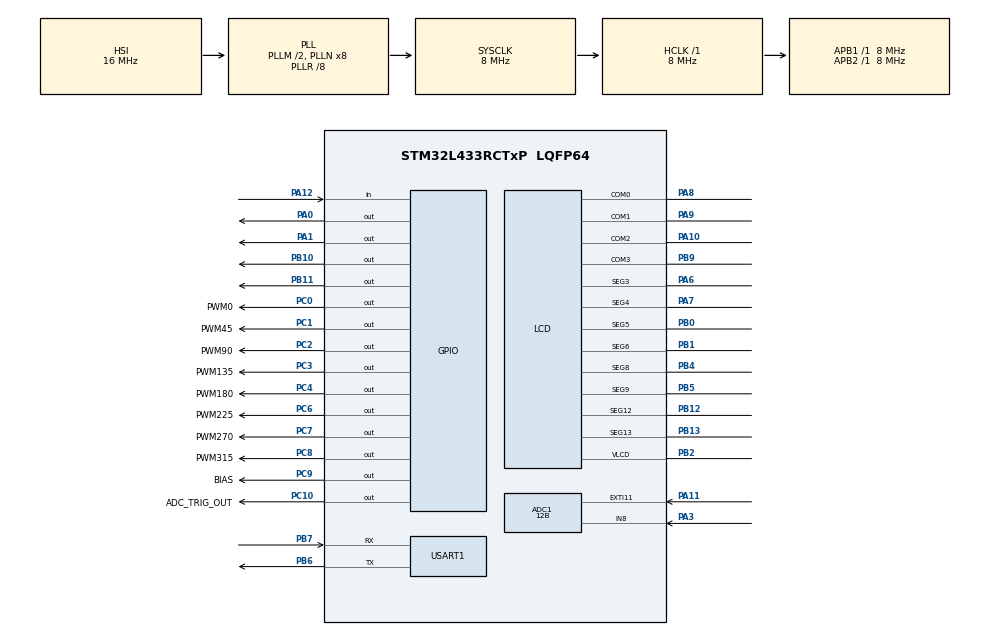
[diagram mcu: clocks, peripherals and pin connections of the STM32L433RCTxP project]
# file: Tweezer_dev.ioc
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ADC1.Channel-13\#ChannelRegularConversion=ADC_CHANNEL_8
ADC1.ContinuousConvMode=DISABLE
ADC1.DMAContinuousRequests=ENABLE
ADC1.NbrOfConversion=1
ADC1.NbrOfConversionFlag=1
ADC1.OffsetNumber-13\#ChannelRegularConversion=ADC_OFFSET_NONE
ADC1.Rank-13\#ChannelRegularConversion=1
ADC1.Resolution=ADC_RESOLUTION_12B
ADC1.SamplingTime-13\#ChannelRegularConversion=ADC_SAMPLETIME_2CYCLES_5
ADC1.master=1
Dma.ADC1.1.Direction=DMA_PERIPH_TO_MEMORY
Dma.ADC1.1.Instance=DMA1_Channel1
Dma.ADC1.1.MemDataAlignment=DMA_MDATAALIGN_HALFWORD
Dma.ADC1.1.MemInc=DMA_MINC_ENABLE
Dma.ADC1.1.Mode=DMA_CIRCULAR
Dma.ADC1.1.PeriphDataAlignment=DMA_PDATAALIGN_HALFWORD
Dma.ADC1.1.PeriphInc=DMA_PINC_DISABLE
Dma.ADC1.1.Priority=DMA_PRIORITY_LOW
Dma.Request0=TIM6_UP
Dma.Request1=ADC1
Dma.TIM6_UP.0.Direction=DMA_MEMORY_TO_PERIPH
Dma.TIM6_UP.0.Instance=DMA2_Channel4
Dma.TIM6_UP.0.MemDataAlignment=DMA_MDATAALIGN_HALFWORD
Dma.TIM6_UP.0.MemInc=DMA_MINC_ENABLE
Dma.TIM6_UP.0.Mode=DMA_CIRCULAR
Dma.TIM6_UP.0.PeriphDataAlignment=DMA_PDATAALIGN_HALFWORD
Dma.TIM6_UP.0.PeriphInc=DMA_PINC_DISABLE
Dma.TIM6_UP.0.Priority=DMA_PRIORITY_VERY_HIGH
LCD.Bias=LCD_BIAS_1_3
LCD.Contrast=LCD_CONTRASTLEVEL_3
LCD.DeadTime=LCD_DEADTIME_3
LCD.Divider=LCD_DIVIDER_31
LCD.HighDrive=LCD_HIGHDRIVE_ENABLE
Mcu.Family=STM32L4
Mcu.Name=STM32L433RCTxP
Mcu.Package=LQFP64
NVIC.DMA1_Channel1_IRQn=true\:0\:0\:false\:false\:true\:false\:true
NVIC.DMA2_Channel4_IRQn=true\:0\:0\:false\:false\:true\:false\:true
NVIC.EXTI15_10_IRQn=true\:0\:0\:false\:false\:true\:true\:true
NVIC.PriorityGroup=NVIC_PRIORITYGROUP_4
PA0.PinState=GPIO_PIN_SET
PA0.Signal=GPIO_Output
PA1.PinState=GPIO_PIN_SET
PA1.Signal=GPIO_Output
PA10.Mode=1/4 Duty Cycle
PA10.Signal=LCD_COM2
PA11.Signal=GPXTI11
PA12.Signal=GPIO_Input
PA13\ (JTMS-SWDIO).GPIO_Label=TMS
PA13\ (JTMS-SWDIO).Mode=Trace_Asynchronous_SW
PA13\ (JTMS-SWDIO).Signal=SYS_JTMS-SWDIO
PA14\ (JTCK-SWCLK).GPIO_Label=TCK
PA14\ (JTCK-SWCLK).Mode=Trace_Asynchronous_SW
PA14\ (JTCK-SWCLK).Signal=SYS_JTCK-SWCLK
PA3.Signal=ADCx_IN8
PA6.Mode=SEG3
PA6.Signal=LCD_SEG3
PA7.Mode=SEG4
PA7.Signal=LCD_SEG4
PA8.Mode=1/4 Duty Cycle
PA8.Signal=LCD_COM0
PA9.Mode=1/4 Duty Cycle
PA9.Signal=LCD_COM1
PB0.Mode=SEG5
PB0.Signal=LCD_SEG5
PB1.Mode=SEG6
PB1.Signal=LCD_SEG6
PB10.PinState=GPIO_PIN_SET
PB10.Signal=GPIO_Output
PB11.PinState=GPIO_PIN_SET
PB11.Signal=GPIO_Output
PB12.Mode=SEG12
PB12.Signal=LCD_SEG12
PB13.Mode=SEG13
PB13.Signal=LCD_SEG13
PB2.Mode=1/4 Duty Cycle
PB2.Signal=LCD_VLCD
PB3\ (JTDO-TRACESWO).GPIO_Label=SWO
PB3\ (JTDO-TRACESWO).Mode=Trace_Asynchronous_SW
PB3\ (JTDO-TRACESWO).Signal=SYS_JTDO-SWO
PB4\ (NJTRST).Mode=SEG8
PB4\ (NJTRST).Signal=LCD_SEG8
PB5.Mode=SEG9
PB5.Signal=LCD_SEG9
PB6.Mode=Asynchronous
PB6.Signal=USART1_TX
PB7.Mode=Asynchronous
PB7.Signal=USART1_RX
PB9.Mode=1/4 Duty Cycle
PB9.Signal=LCD_COM3
PC0.GPIO_Label=PWM0
PC0.Signal=GPIO_Output
PC1.GPIO_Label=PWM45
PC1.Signal=GPIO_Output
PC10.GPIO_Label=ADC_TRIG_OUT
PC10.Signal=GPIO_Output
PC2.GPIO_Label=PWM90
PC2.Signal=GPIO_Output
PC3.GPIO_Label=PWM135
PC3.Signal=GPIO_Output
PC4.GPIO_Label=PWM180
PC4.Signal=GPIO_Output
PC6.GPIO_Label=PWM225
PC6.Signal=GPIO_Output
PC7.GPIO_Label=PWM270
PC7.Signal=GPIO_Output
PC8.GPIO_Label=PWM315
PC8.Signal=GPIO_Output
PC9.GPIO_Label=BIAS
PC9.GPIO_ModeDefaultOutputPP=GPIO_MODE_OUTPUT_OD
PC9.GPIO_PuPd=GPIO_NOPULL
PC9.GPIO_Speed=GPIO_SPEED_FREQ_VERY_HIGH
PC9.Signal=GPIO_Output
ProjectManager.HeapSize=0x200
ProjectManager.StackSize=0x400
ProjectManager.TargetToolchain=STM32CubeIDE
RCC.ADCCLockSelection=RCC_ADCCLKSOURCE_SYSCLK
RCC.ADCFreq_Value=8000000
RCC.AHBFreq_Value=8000000
RCC.APB1Freq_Value=8000000
RCC.APB1TimFreq_Value=8000000
RCC.APB2Freq_Value=8000000
RCC.APB2TimFreq_Value=8000000
RCC.CortexFreq_Value=8000000
RCC.HCLKFreq_Value=8000000
RCC.HSE_VALUE=8000000
RCC.HSI48_VALUE=48000000
RCC.HSI_VALUE=16000000
RCC.LSE_VALUE=32768
RCC.MSIClockRange=RCC_MSIRANGE_10
RCC.MSI_VALUE=32000000
RCC.PLLM=2
RCC.PLLR=RCC_PLLR_DIV8
RCC.PLLSourceVirtual=RCC_PLLSOURCE_HSI
RCC.PREFETCH_ENABLE=1
RCC.SYSCLKFreq_VALUE=8000000
RCC.SYSCLKSource=RCC_SYSCLKSOURCE_PLLCLK
RCC.USBFreq_Value=32000000
RCC.VCOOutputFreq_Value=64000000
SH.ADCx_IN8.0=ADC1_IN8,IN8-Single-Ended
TIM2.Period=1000000
TIM2.Prescaler=8000-1
TIM6.Period=246-1
TIM6.Prescaler=1-1
TIM6.TIM_MasterOutputTrigger=TIM_TRGO_UPDATE
USART1.VirtualMode-Asynchronous=VM_ASYNC
VP_LCD_LCD_mux.Mode=Multiplex
VP_TIM2_VS_ClockSourceINT.Mode=Internal
VP_TIM6_VS_ClockSourceINT.Mode=Enable_Timer
board=NUCLEO-L433RC-P

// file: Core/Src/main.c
/* USER CODE BEGIN Header */
/**
  ******************************************************************************
  * @file           : main.c
  * @brief          : Main program body
  ******************************************************************************
  * @attention
  *
  * Copyright (c) 2022 STMicroelectronics.
  * All rights reserved.
  *
  * This software is licensed under terms that can be found in the LICENSE file
  * in the root directory of this software component.
  * If no LICENSE file comes with this software, it is provided AS-IS.
  *
  ******************************************************************************
  */
/* USER CODE END Header */
//#include <Connors_LUT.h>
#include <THE_LUT.h>
#include "main.h"

/* USER CODE BEGIN Includes */
#include "stdio.h"
#include "math.h"
#include <stdint.h>
/* USER CODE END Includes */

/* USER CODE BEGIN PD */
#define TX_BUFF_SIZE 512
#define SAMPLE_BUFF_SIZE 128 //2 periods
#define BIAS_BUFF_SIZE 8
#define display_delay 50
/* USER CODE END PD */

ADC_HandleTypeDef hadc1;
DMA_HandleTypeDef hdma_adc1;

LCD_HandleTypeDef hlcd;

TIM_HandleTypeDef htim2;
TIM_HandleTypeDef htim6;
DMA_HandleTypeDef hdma_tim6_up;

UART_HandleTypeDef huart1;

/* USER CODE BEGIN PV */
// random data for test
int D = 0;
// base display data array
uint16_t Display[4] = {0,0,0,0};
// array for individual values
int data[4];
// lookup table for data
uint16_t X0[4] = {1,3,2,3};
uint16_t X1[4] = {0,2,2,0};
uint16_t X2[4] = {1,1,3,2};
uint16_t X3[4] = {1,2,3,2};
uint16_t X4[4] = {0,2,3,1};
uint16_t X5[4] = {1,2,1,3};
uint16_t X6[4] = {1,3,1,3};
uint16_t X7[4] = {0,2,2,2};
uint16_t X8[4] = {1,3,3,3};
uint16_t X9[4] = {1,2,3,3};
//DISPLAYYYYYYYY ^^^^^^^^^^
static uint16_t ODR_Buff[TX_BUFF_SIZE];
static uint16_t samples[SAMPLE_BUFF_SIZE] = {0};
static uint16_t processBuff[SAMPLE_BUFF_SIZE/2] = {0};

static double cosAngLut[32];
static double sinAngLut[32];

static double even[32];
static double odd[32];
static double demol[32];

static double k = 1; //Frequency bin of interest 1hz

static double real = 0; //Real part of sensor signal
static double imag = 0; //Imaginary part of sensor signal

static double magnitude = 0; //Amplitude of sensor signal
static double phaseRad = 0;  //Phase in radians
static double phaseDeg = 0;  //Phase in degrees
static double phaseDegDisp = 0;

static int quadrant = 1;

uint8_t dataRdyFlag = 0;
float logging[1024] = {0};
int timing[1024] = {0};
int logcount = 0;
float offset = 324;
float zero = 324;
float tempf;
int tempi;
int tempi2;
int lastTime = 0;
//uint16_t data[2] = {0xFFFF, 0x0000};
/* USER CODE END PV */

void SystemClock_Config(void);
static void MX_GPIO_Init(void);
static void MX_LCD_Init(void);
static void MX_ADC1_Init(void);
static void MX_USART1_UART_Init(void);
static void MX_DMA_Init(void);
static void MX_TIM6_Init(void);
static void MX_TIM2_Init(void);
/* USER CODE BEGIN PFP */
int movingAvg(int *ptrArrNumbers, long *ptrSum, int pos, int len, int nextNum)
{
  //Subtract the oldest number from the prev sum, add the new number
  *ptrSum = *ptrSum - ptrArrNumbers[pos] + nextNum;
  //Assign the nextNum to the position in the array
  ptrArrNumbers[pos] = nextNum;
  //return the average
  return *ptrSum / len;
}
// configures data into an array of 4 individual values
void configure(int* ptr, int D){
      //int dec = D*100;
		int dec = D;
      ptr += 3;
      for(int i = 0; i < 4; i++){
            int x = pow(10,i);
            *ptr = (dec/x)%10;
            ptr--;
      }
}
void DisplayUpdate(uint16_t* displayptr, int* dataptr){
      int LS = 3;
      uint16_t *originaldisplayptr = displayptr;

      for(int j = 2; j < 6; j++){
            displayptr = originaldisplayptr;
            switch (*dataptr){
                  case 0:
                        for(int i = 0; i < sizeof(data)/sizeof(data[0]); i++){
                              *displayptr = Display[i] ^ (X0[i] << LS);
                              displayptr++;
                        }
                        break;
                  case 1:
                        for(int i = 0; i < sizeof(data)/sizeof(data[0]); i++){
                              *displayptr = Display[i] ^ (X1[i] << LS);
                              printf("LS = %i\n", X1[i] << LS);
                              printf("display ptr = %i\n", *displayptr);
                              displayptr++;
                        }
                        break;
                  case 2:
                        for(int i = 0; i < sizeof(data)/sizeof(data[0]); i++){
                              *displayptr = Display[i] ^ (X2[i] << LS);
                              displayptr++;
                        }
                        break;
                  case 3:
                        for(int i = 0; i < sizeof(data)/sizeof(data[0]); i++){
                              *displayptr = Display[i] ^ (X3[i] << LS);
                              displayptr++;
                        }
                        break;
                  case 4:
                        for(int i = 0; i < sizeof(data)/sizeof(data[0]); i++){
                              *displayptr = Display[i] ^ (X4[i] << LS);
                              displayptr++;
                        }
                        break;
                  case 5:
                        for(int i = 0; i < sizeof(data)/sizeof(data[0]); i++){
                              *displayptr = Display[i] ^ (X5[i] << LS);
                              displayptr++;
                        }
                        break;
                  case 6:
                        for(int i = 0; i < sizeof(data)/sizeof(data[0]); i++){
                              *displayptr = Display[i] ^ (X6[i] << LS);
                              displayptr++;
                        }
                        break;
                  case 7:
                        for(int i = 0; i < sizeof(data)/sizeof(data[0]); i++){
                              *displayptr = Display[i] ^ (X7[i] << LS);
                              displayptr++;
                        }
                        break;
                  case 8:
                        for(int i = 0; i < sizeof(data)/sizeof(data[0]); i++){
                              *displayptr = Display[i] ^ (X8[i] << LS);
                              displayptr++;
                        }
                        break;
                  case 9:
                        for(int i = 0; i < sizeof(data)/sizeof(data[0]); i++){
                              *displayptr = Display[i] ^ (X9[i] << LS);
                              displayptr++;
                        }
                        break;
            }
            LS =  LS + j;
            dataptr++;
      }
}
//DISPLAYYYYYY^^^^^^^
int _write(int file, char *ptr, int len)
{
  /* Implement your write code here, this is used by puts and printf for example */
  int i=0;
  for(i=0 ; i<len ; i++)
    ITM_SendChar((*ptr++));
  return len;
}
void generateLuts()
{
    for (int i = 0; i < 32; i++)
    {
        double angle = (2 * M_PI * (double)i * k) / 32;

        cosAngLut[i] = cos(angle);
        sinAngLut[i] = sin(angle);
    }
}
uint32_t calcBuffLoc(uint32_t startPos, uint32_t offSet, uint32_t buffSize)
{
    uint32_t newLoc = startPos + offSet;

    if (newLoc < buffSize)
    {
        return newLoc;
    }
    else
    {
        return newLoc - buffSize; // Loop Around
    }
}
float constrainAngle(float x){
	x= fmod(x,360);
	if (x<0){
		x += 360;
	}
	return x;
}
void generate_ODR_Buff()
{
	const uint8_t singlePhaseBuff[TX_BUFF_SIZE] = {1, 1, 1, 1, 1, 1, 1, 1, 1, 1, 1, 1, 1, 1, 1, 1, 1, 1, 1, 1, 0, 0, 0, 0, 1, 1, 1, 1, 1, 1, 1, 1, 1, 1, 1, 1, 0, 0, 0, 0, 1, 1, 1, 1, 1, 1, 1, 1, 0, 0, 0, 0, 0, 0, 0, 0, 1, 1, 1, 1, 1, 1, 1, 1, 0, 0, 0, 0, 0, 0, 0, 0, 1, 1, 1, 1, 1, 1, 1, 1, 0, 0, 0, 0, 0, 0, 0, 0, 1, 1, 1, 1, 1, 1, 1, 1, 0, 0, 0, 0, 0, 0, 0, 0, 1, 1, 1, 1, 1, 1, 1, 1, 0, 0, 0, 0, 0, 0, 0, 0, 1, 1, 1, 1, 1, 1, 1, 1, 0, 0, 0, 0, 0, 0, 0, 0, 1, 1, 1, 1, 1, 1, 1, 1, 0, 0, 0, 0, 0, 0, 0, 0, 1, 1, 1, 1, 1, 1, 1, 1, 0, 0, 0, 0, 0, 0, 0, 0, 1, 1, 1, 1, 1, 1, 1, 1, 0, 0, 0, 0, 0, 0, 0, 0, 1, 1, 1, 1, 1, 1, 1, 1, 0, 0, 0, 0, 0, 0, 0, 0, 1, 1, 1, 1, 1, 1, 1, 1, 0, 0, 0, 0, 0, 0, 0, 0, 1, 1, 1, 1, 1, 1, 1, 1, 0, 0, 0, 0, 0, 0, 0, 0, 1, 1, 1, 1, 1, 1, 1, 1, 0, 0, 0, 0, 0, 0, 0, 0, 0, 0, 0, 0, 1, 1, 1, 1, 0, 0, 0, 0, 0, 0, 0, 0, 0, 0, 0, 0, 0, 0, 0, 0, 0, 0, 0, 0, 1, 1, 1, 1, 0, 0, 0, 0, 0, 0, 0, 0, 0, 0, 0, 0, 1, 1, 1, 1, 0, 0, 0, 0, 0, 0, 0, 0, 1, 1, 1, 1, 1, 1, 1, 1, 0, 0, 0, 0, 0, 0, 0, 0, 1, 1, 1, 1, 1, 1, 1, 1, 0, 0, 0, 0, 0, 0, 0, 0, 1, 1, 1, 1, 1, 1, 1, 1, 0, 0, 0, 0, 0, 0, 0, 0, 1, 1, 1, 1, 1, 1, 1, 1, 0, 0, 0, 0, 0, 0, 0, 0, 1, 1, 1, 1, 1, 1, 1, 1, 0, 0, 0, 0, 0, 0, 0, 0, 1, 1, 1, 1, 1, 1, 1, 1, 0, 0, 0, 0, 0, 0, 0, 0, 1, 1, 1, 1, 1, 1, 1, 1, 0, 0, 0, 0, 0, 0, 0, 0, 1, 1, 1, 1, 1, 1, 1, 1, 0, 0, 0, 0, 0, 0, 0, 0, 1, 1, 1, 1, 1, 1, 1, 1, 0, 0, 0, 0, 0, 0, 0, 0, 1, 1, 1, 1, 1, 1, 1, 1, 0, 0, 0, 0, 0, 0, 0, 0, 1, 1, 1, 1, 1, 1, 1, 1, 0, 0, 0, 0, 0, 0, 0, 0, 1, 1, 1, 1, 1, 1, 1, 1, 0, 0, 0, 0, 0, 0, 0, 0, 1, 1, 1, 1, 1, 1, 1, 1, 1, 1, 1, 1, 0, 0, 0, 0};
	//const uint8_t biasBuff[BIAS_BUFF_SIZE] = {0, 0, 0, 1, 1, 1, 1, 1};//ORIGINAL
	//const uint8_t biasBuff[BIAS_BUFF_SIZE] = {0, 0, 0, 0, 0, 0, 0, 1};//shorter active period
	//const uint8_t biasBuff[BIAS_BUFF_SIZE] = {0, 0, 0, 0, 0, 0, 0, 0};//NO BIAS TEST
	const uint8_t biasBuff[BIAS_BUFF_SIZE] = {1, 1, 1, 0, 0, 0, 0, 0};// FOR TESTING ON BREADBOARD

	uint32_t tx0Loc, tx1Loc, tx2Loc, tx3Loc, tx4Loc, tx5Loc, tx6Loc, tx7Loc = 0; // 0 ... 512-1: TX buffer locations
	uint32_t biasLoc = 0;                                                        // 0 ... 8-1: Bias buffer location
	uint32_t period = 0;                                                         // Period signal current output pin state
	uint32_t timeBase = 0;                                                       // Timebase signal current output pin state
	uint32_t adcTrig = 0;                                                        // ADC external trigger signal current output pin state
	uint32_t ODRVal = 0;                                                        // Output data register state for all signals combined

	for (uint32_t i = 0; i < TX_BUFF_SIZE; i++)
	{
		tx0Loc = i;
		/* Calculate other TX signals LUT location 45 degrees phase shifted */
		tx1Loc = calcBuffLoc(tx0Loc, TX_BUFF_SIZE / 8 * 1, TX_BUFF_SIZE);
		tx2Loc = calcBuffLoc(tx0Loc, TX_BUFF_SIZE / 8 * 2, TX_BUFF_SIZE);
		tx3Loc = calcBuffLoc(tx0Loc, TX_BUFF_SIZE / 8 * 3, TX_BUFF_SIZE);
		tx4Loc = calcBuffLoc(tx0Loc, TX_BUFF_SIZE / 8 * 4, TX_BUFF_SIZE);
		tx5Loc = calcBuffLoc(tx0Loc, TX_BUFF_SIZE / 8 * 5, TX_BUFF_SIZE);
		tx6Loc = calcBuffLoc(tx0Loc, TX_BUFF_SIZE / 8 * 6, TX_BUFF_SIZE);
		tx7Loc = calcBuffLoc(tx0Loc, TX_BUFF_SIZE / 8 * 7, TX_BUFF_SIZE);

		/* calculate debug signals */
		period = (tx0Loc < TX_BUFF_SIZE / 2) ? 0 : 1;
		timeBase = (tx0Loc % 2) ? 0 : 1; //flips every sample, timebase for debugging

		/* Calculate ADC external trigger signal */
		adcTrig = ((tx0Loc + 7) % 8) ? 0 : 1; //ADC trigger signal every 8T, Offset by 6 to align ADC trigger (rising edge) on second period when the bias is low.
		//adcTrig = ((tx0Loc) % 8) ? 0 : 1;
		/* building the OCTL value */
		ODRVal = 0; //Set all pins low default

		if (singlePhaseBuff[tx0Loc])
			ODRVal |= PWM0_Pin;
		if (singlePhaseBuff[tx1Loc])
			ODRVal |= PWM45_Pin;
		if (singlePhaseBuff[tx2Loc])
			ODRVal |= PWM90_Pin;
		if (singlePhaseBuff[tx3Loc])
			ODRVal |= PWM135_Pin;
		if (singlePhaseBuff[tx4Loc])
			ODRVal |= PWM180_Pin;
		if (singlePhaseBuff[tx5Loc])
			ODRVal |= PWM225_Pin; //STM32l433RCTxP does not have Port C Pin 5
		if (singlePhaseBuff[tx6Loc])
			ODRVal |= PWM270_Pin;
		if (singlePhaseBuff[tx7Loc])
			ODRVal |= PWM315_Pin;
		if (biasBuff[biasLoc])
			ODRVal |= BIAS_Pin; // Bias signal: 8T Period 3T LOW 5T HIGH
		if (adcTrig)
			ODRVal |= ADC_TRIG_OUT_Pin; // ADC external trigger signal: 8T Period
		/*if (timeBase)
			ODRVal |= TIMEBASE_Pin;     // DBG signal: TimeBase smallest period 1T
		if (period)
			ODRVal |= PERIOD_Pin; // DBG signal: Period is the modulated Sine period. 512/2=256, 256T HIGH followed by 256T LOW*/

		/* Store OCTL value in buffer */
		ODR_Buff[i] = ODRVal;

		/* Loop over bias signal template buffer when end is reached*/
		biasLoc++;
		if (biasLoc >= BIAS_BUFF_SIZE)
			biasLoc = 0;
	}
}
void sensor_signalProcessing()
{
    /*Split even and odd samples */
    int eLoc = 0;
    int oLoc = 0;
    for (uint32_t i = 0; i < 64; i++)
    {
        if (i % 2)
        {
            even[eLoc] = (double)processBuff[i];
            eLoc++;
        }
        else
        {
            odd[oLoc] = (double)processBuff[i];
            oLoc++;
        }
    }

    /* demodulate: convert sampled signal to sine*/
    for (uint32_t i = 0; i < 32; i++)
    {
        demol[i] = even[i] - odd[i];
    }

    //Demol: LP filter test 4 sample avg
    /*for (uint32_t i = 0; i < 32; i++)
    {
        demolLp[i] = (demol[i] + demol[calcBuffLoc(i, 1, 32)] + demol[calcBuffLoc(i, 2, 32)] + demol[calcBuffLoc(i, 3, 32)]) / 4;
    }*/

    //Demol: LP filter test 8 sample avg
    // for (int i = 0; i < 32; i++)
    // {
    //     demolLp[i] = (demol[i] + demol[calcBuffLoc(i, 1, 32)] + demol[calcBuffLoc(i, 2, 32)] + demol[calcBuffLoc(i, 3, 32)] + demol[calcBuffLoc(i, 4, 32)] + demol[calcBuffLoc(i, 5, 32)] + demol[calcBuffLoc(i, 6, 32)] + demol[calcBuffLoc(i, 7, 32)]) / 8;
    // }

    /// calculate DFT for single frequency bin @ 1Hz
    /// The sampling frequency in Hz = 64 hz
    ///
    /// Bin frequency = k*SamplerateHz/SampleSize = 1*64/64 = 1Hz
    // double sumrealTemp = 0;
    // double sumimagTemp = 0;
    // for (int i = 0; i < 32; i++)
    // {
    //     double angle = (2 * M_PI * (double)i * k) / 32;

    //     // sumrealTemp += (double)demol[i] * cos(angle);
    //     // sumimagTemp += -(double)demol[i] * sin(angle);

    //     sumrealTemp += (double)demolLp[i] * cos(angle);
    //     sumimagTemp += -(double)demolLp[i] * sin(angle);
    // }

    /* Fast dft using precomputed lookup tables for cos and sine part*/
    double sumrealTemp = 0;
    double sumimagTemp = 0;

    for (uint32_t i = 0; i < 32; i++)
    {
        sumrealTemp += (double)demol[i] * cosAngLut[i];
        sumimagTemp += -(double)demol[i] * sinAngLut[i];
    }

    // dft coefficients at the frequency bin of interest (1hz) in complex form
    real = sumrealTemp; //X-axis
    imag = sumimagTemp; //Y-axis

    // Calculate phase
    if (real >= 0 && imag >= 0)
    {
        //1-Quadrant (top right) [+, +]
        phaseRad = atan2(imag, real);
        quadrant = 1;
    }
    else if (real < 0 && imag >= 0)
    {
        //2-Quadrant (top left) [-, +]
        phaseRad = atan2(imag, real);
        quadrant = 2;
    }
    else if (real < 0 && imag < 0)
    {
        //3-Quadrant (bottom left) [-, -]
        phaseRad = 2 * M_PI + atan2(imag, real);
        quadrant = 3;
    }
    else if (real >= 0 && imag < 0)
    {
        //4-Quadrant (bottom right) [+, -] #Optimization: do not check last quadrant just use else
        phaseRad = 2 * M_PI + atan2(imag, real);
        quadrant = 4;
    }

    phaseDeg = (phaseRad * 180) / M_PI; // 0 to 360 degrees
    phaseDegDisp = round((phaseRad * 180) / M_PI);
    /*if(logcount<1024){
    	logging[logcount] = phaseDeg;
    	timing[logcount] = HAL_GetTick();
    	logcount++;
    }
    else{
    	logcount = 1025;
    }*/
    // Calculate magnitude
    magnitude = sqrt(fabs(real) + fabs(imag));
}
/* USER CODE END PFP */

int main(void)
{

  /* MCU Configuration--------------------------------------------------------*/

  /* Reset of all peripherals, Initializes the Flash interface and the Systick. */
  HAL_Init();

  /* Configure the system clock */
  SystemClock_Config();

  /* USER CODE BEGIN SysInit */
  MX_DMA_Init();
  /* USER CODE END SysInit */

  /* Initialize all configured peripherals */
  MX_GPIO_Init();
  MX_LCD_Init();
  MX_ADC1_Init();
  MX_USART1_UART_Init();
  MX_DMA_Init();
  MX_TIM6_Init();
  MX_TIM2_Init();
  /* USER CODE BEGIN 2 */
  generate_ODR_Buff();
  generateLuts();
  HAL_DMA_Start(&hdma_tim6_up, (uint32_t)&ODR_Buff, (uint32_t)&GPIOC->ODR, TX_BUFF_SIZE);
  __HAL_TIM_ENABLE_DMA(&htim6, TIM_DMA_UPDATE);
  HAL_TIM_Base_Start(&htim6);
  //HAL_TIM_PWM_Start(&htim2, TIM_CHANNEL_1);
  //__HAL_TIM_SET_COMPARE(&htim2, TIM_CHANNEL_1, 0);
  //HAL_TIM_PWM_Start(&htim2, TIM_CHANNEL_2);
  //HAL_TIM_PWM_Start(&htim2, TIM_CHANNEL_3);
  //HAL_TIM_PWM_Start(&htim2, TIM_CHANNEL_4);

  HAL_ADC_Start_DMA(&hadc1, (uint32_t*)samples, SAMPLE_BUFF_SIZE);
  //__HAL_TIM_ENABLE_DMA(&htim2, TIM_DMA_UPDATE);

	/*//find the size of array
	int size = sizeof(data)/sizeof(data[0]);

	//declare new array to store reverse of original array
	int k=0, reverse[size];

	//Loop from back and assign value to new array
	for(int i=size-1; i>=0; ){
		  reverse[k++] = data[i--];
	}*/

	for(int i = 0; i < 4; i++){
		  printf("Display = %d \n", Display[i]);
	}
	int arrNumbers[5] = {0};
	int pos = 0;
	  int newAvg = 0;
	  long sum = 0;
	  int len = sizeof(arrNumbers) / sizeof(int);
  /* USER CODE END 2 */

  /* Infinite loop */
  /* USER CODE BEGIN WHILE */
  while (1)
  {
	  if(HAL_GPIO_ReadPin(GPIOA, GPIO_PIN_12)==0){
		  zero = phaseDeg;
		  /*for(int i=0; i<len; i++){
			  arrNumbers[i] = 0;
		  }*/
	  }
	  if(dataRdyFlag)
	  {
		  sensor_signalProcessing();
		  memset(Display, 0x00, 8);
		 		  	  tempf = constrainAngle(phaseDeg-offset);
		 		  	  tempf *= 100;
		 		  	  tempi = (int)tempf;
		 		  	  tempf = constrainAngle(zero-offset);
		 		  	  tempf *= 100;
		 		  	  tempi2 = (int)tempf;
		 		  	newAvg = movingAvg(arrNumbers, &sum, pos, len, angleLut[tempi]-angleLut[tempi2]);
		 		  	pos++;
		 		  	    if (pos >= len){
		 		  	      pos = 0;
		 		  	    }
		 		  	  configure(data, abs(newAvg));
		 		  	  //configure(data, angleLut[tempi]);

		  dataRdyFlag = 0;
	  }
	  if(HAL_GetTick()-lastTime>display_delay){
		  lastTime = HAL_GetTick();
		  DisplayUpdate(Display, data);
		  		  	  HAL_LCD_Clear(&hlcd);
		  		  	  //HAL_LCD_Write(&hlcd, LCD_RAM_REGISTER0, 0xffff, 0x0040);
		  		  	  HAL_LCD_Write(&hlcd, LCD_RAM_REGISTER0, 0xffff, Display[0]|0x0040);
		  		  	  HAL_LCD_Write(&hlcd, LCD_RAM_REGISTER2, 0xffff, Display[1]);
		  		  	  HAL_LCD_Write(&hlcd, LCD_RAM_REGISTER4, 0xffff, Display[2]);
		  		  	  HAL_LCD_Write(&hlcd, LCD_RAM_REGISTER6, 0xffff, Display[3]);
		  		  	  HAL_LCD_UpdateDisplayRequest(&hlcd);
		  		  	if(newAvg>20){
		  		  			  		  HAL_GPIO_WritePin(GPIOA, GPIO_PIN_0, 0);
		  		  			  		HAL_GPIO_WritePin(GPIOA, GPIO_PIN_1, 1);
		  		  			  		HAL_GPIO_WritePin(GPIOB, GPIO_PIN_10, 1);
		  		  			  		HAL_GPIO_WritePin(GPIOB, GPIO_PIN_11, 1);
		  		  			  	  }
		  		  	if(newAvg<-20){
		  		  			  			  		  HAL_GPIO_WritePin(GPIOA, GPIO_PIN_0, 1);
		  		  			  			  		HAL_GPIO_WritePin(GPIOA, GPIO_PIN_1, 1);
		  		  			  			  		HAL_GPIO_WritePin(GPIOB, GPIO_PIN_10, 0);
		  		  			  			  		HAL_GPIO_WritePin(GPIOB, GPIO_PIN_11, 1);
		  		  			  			  	  }
		  		  	if(newAvg<20 && newAvg>-20){
		  		  			  			  		  HAL_GPIO_WritePin(GPIOA, GPIO_PIN_0, 1);
		  		  			  			  		HAL_GPIO_WritePin(GPIOA, GPIO_PIN_1, 0);
		  		  			  			  		HAL_GPIO_WritePin(GPIOB, GPIO_PIN_10, 1);
		  		  			  			  		HAL_GPIO_WritePin(GPIOB, GPIO_PIN_11, 0);
		  		  			  			  	  }
	  }
    /* USER CODE END WHILE */

  }
}

void SystemClock_Config(void)
{
  RCC_OscInitTypeDef RCC_OscInitStruct = {0};
  RCC_ClkInitTypeDef RCC_ClkInitStruct = {0};

  /** Configure the main internal regulator output voltage
  */
  if (HAL_PWREx_ControlVoltageScaling(PWR_REGULATOR_VOLTAGE_SCALE1) != HAL_OK)
  {
    Error_Handler();
  }
  /** Initializes the RCC Oscillators according to the specified parameters
  * in the RCC_OscInitTypeDef structure.
  */
  RCC_OscInitStruct.OscillatorType = RCC_OSCILLATORTYPE_HSI|RCC_OSCILLATORTYPE_LSI;
  RCC_OscInitStruct.HSIState = RCC_HSI_ON;
  RCC_OscInitStruct.HSICalibrationValue = RCC_HSICALIBRATION_DEFAULT;
  RCC_OscInitStruct.LSIState = RCC_LSI_ON;
  RCC_OscInitStruct.PLL.PLLState = RCC_PLL_ON;
  RCC_OscInitStruct.PLL.PLLSource = RCC_PLLSOURCE_HSI;
  RCC_OscInitStruct.PLL.PLLM = 2;
  RCC_OscInitStruct.PLL.PLLN = 8;
  RCC_OscInitStruct.PLL.PLLP = RCC_PLLP_DIV7;
  RCC_OscInitStruct.PLL.PLLQ = RCC_PLLQ_DIV2;
  RCC_OscInitStruct.PLL.PLLR = RCC_PLLR_DIV8;
  if (HAL_RCC_OscConfig(&RCC_OscInitStruct) != HAL_OK)
  {
    Error_Handler();
  }
  /** Initializes the CPU, AHB and APB buses clocks
  */
  RCC_ClkInitStruct.ClockType = RCC_CLOCKTYPE_HCLK|RCC_CLOCKTYPE_SYSCLK
                              |RCC_CLOCKTYPE_PCLK1|RCC_CLOCKTYPE_PCLK2;
  RCC_ClkInitStruct.SYSCLKSource = RCC_SYSCLKSOURCE_PLLCLK;
  RCC_ClkInitStruct.AHBCLKDivider = RCC_SYSCLK_DIV1;
  RCC_ClkInitStruct.APB1CLKDivider = RCC_HCLK_DIV1;
  RCC_ClkInitStruct.APB2CLKDivider = RCC_HCLK_DIV1;

  if (HAL_RCC_ClockConfig(&RCC_ClkInitStruct, FLASH_LATENCY_0) != HAL_OK)
  {
    Error_Handler();
  }
}

static void MX_ADC1_Init(void)
{

  ADC_ChannelConfTypeDef sConfig = {0};

  /** Common config
  */
  hadc1.Instance = ADC1;
  hadc1.Init.ClockPrescaler = ADC_CLOCK_ASYNC_DIV1;
  hadc1.Init.Resolution = ADC_RESOLUTION_12B;
  hadc1.Init.DataAlign = ADC_DATAALIGN_RIGHT;
  hadc1.Init.ScanConvMode = ADC_SCAN_DISABLE;
  hadc1.Init.EOCSelection = ADC_EOC_SINGLE_CONV;
  hadc1.Init.LowPowerAutoWait = DISABLE;
  hadc1.Init.ContinuousConvMode = DISABLE;
  hadc1.Init.NbrOfConversion = 1;
  hadc1.Init.DiscontinuousConvMode = DISABLE;
  hadc1.Init.ExternalTrigConv = ADC_EXTERNALTRIG_EXT_IT11;
  hadc1.Init.ExternalTrigConvEdge = ADC_EXTERNALTRIGCONVEDGE_RISING;
  hadc1.Init.DMAContinuousRequests = ENABLE;
  hadc1.Init.Overrun = ADC_OVR_DATA_PRESERVED;
  hadc1.Init.OversamplingMode = DISABLE;
  if (HAL_ADC_Init(&hadc1) != HAL_OK)
  {
    Error_Handler();
  }
  /** Configure Regular Channel
  */
  sConfig.Channel = ADC_CHANNEL_8;
  sConfig.Rank = ADC_REGULAR_RANK_1;
  sConfig.SamplingTime = ADC_SAMPLETIME_2CYCLES_5;
  sConfig.SingleDiff = ADC_SINGLE_ENDED;
  sConfig.OffsetNumber = ADC_OFFSET_NONE;
  sConfig.Offset = 0;
  if (HAL_ADC_ConfigChannel(&hadc1, &sConfig) != HAL_OK)
  {
    Error_Handler();
  }

}

static void MX_LCD_Init(void)
{

  hlcd.Instance = LCD;
  hlcd.Init.Prescaler = LCD_PRESCALER_1;
  hlcd.Init.Divider = LCD_DIVIDER_31;
  hlcd.Init.Duty = LCD_DUTY_1_4;
  hlcd.Init.Bias = LCD_BIAS_1_3;
  hlcd.Init.VoltageSource = LCD_VOLTAGESOURCE_INTERNAL;
  hlcd.Init.Contrast = LCD_CONTRASTLEVEL_3;
  hlcd.Init.DeadTime = LCD_DEADTIME_3;
  hlcd.Init.PulseOnDuration = LCD_PULSEONDURATION_1;
  hlcd.Init.MuxSegment = LCD_MUXSEGMENT_ENABLE;
  hlcd.Init.BlinkMode = LCD_BLINKMODE_OFF;
  hlcd.Init.BlinkFrequency = LCD_BLINKFREQUENCY_DIV8;
  hlcd.Init.HighDrive = LCD_HIGHDRIVE_ENABLE;
  if (HAL_LCD_Init(&hlcd) != HAL_OK)
  {
    Error_Handler();
  }
  /** Enable the High Driver
  */
  __HAL_LCD_HIGHDRIVER_ENABLE(&hlcd);

}

static void MX_TIM2_Init(void)
{

  TIM_ClockConfigTypeDef sClockSourceConfig = {0};
  TIM_MasterConfigTypeDef sMasterConfig = {0};

  htim2.Instance = TIM2;
  htim2.Init.Prescaler = 8000-1;
  htim2.Init.CounterMode = TIM_COUNTERMODE_UP;
  htim2.Init.Period = 1000000;
  htim2.Init.ClockDivision = TIM_CLOCKDIVISION_DIV1;
  htim2.Init.AutoReloadPreload = TIM_AUTORELOAD_PRELOAD_DISABLE;
  if (HAL_TIM_Base_Init(&htim2) != HAL_OK)
  {
    Error_Handler();
  }
  sClockSourceConfig.ClockSource = TIM_CLOCKSOURCE_INTERNAL;
  if (HAL_TIM_ConfigClockSource(&htim2, &sClockSourceConfig) != HAL_OK)
  {
    Error_Handler();
  }
  sMasterConfig.MasterOutputTrigger = TIM_TRGO_RESET;
  sMasterConfig.MasterSlaveMode = TIM_MASTERSLAVEMODE_DISABLE;
  if (HAL_TIMEx_MasterConfigSynchronization(&htim2, &sMasterConfig) != HAL_OK)
  {
    Error_Handler();
  }

}

static void MX_TIM6_Init(void)
{

  TIM_MasterConfigTypeDef sMasterConfig = {0};

  htim6.Instance = TIM6;
  htim6.Init.Prescaler = 1-1;
  htim6.Init.CounterMode = TIM_COUNTERMODE_UP;
  htim6.Init.Period = 246-1;
  htim6.Init.AutoReloadPreload = TIM_AUTORELOAD_PRELOAD_DISABLE;
  if (HAL_TIM_Base_Init(&htim6) != HAL_OK)
  {
    Error_Handler();
  }
  sMasterConfig.MasterOutputTrigger = TIM_TRGO_UPDATE;
  sMasterConfig.MasterSlaveMode = TIM_MASTERSLAVEMODE_DISABLE;
  if (HAL_TIMEx_MasterConfigSynchronization(&htim6, &sMasterConfig) != HAL_OK)
  {
    Error_Handler();
  }

}

static void MX_USART1_UART_Init(void)
{

  huart1.Instance = USART1;
  huart1.Init.BaudRate = 115200;
  huart1.Init.WordLength = UART_WORDLENGTH_8B;
  huart1.Init.StopBits = UART_STOPBITS_1;
  huart1.Init.Parity = UART_PARITY_NONE;
  huart1.Init.Mode = UART_MODE_TX_RX;
  huart1.Init.HwFlowCtl = UART_HWCONTROL_NONE;
  huart1.Init.OverSampling = UART_OVERSAMPLING_16;
  huart1.Init.OneBitSampling = UART_ONE_BIT_SAMPLE_DISABLE;
  huart1.AdvancedInit.AdvFeatureInit = UART_ADVFEATURE_NO_INIT;
  if (HAL_UART_Init(&huart1) != HAL_OK)
  {
    Error_Handler();
  }

}

static void MX_DMA_Init(void)
{

  /* DMA controller clock enable */
  __HAL_RCC_DMA2_CLK_ENABLE();
  __HAL_RCC_DMA1_CLK_ENABLE();

  /* DMA interrupt init */
  /* DMA1_Channel1_IRQn interrupt configuration */
  HAL_NVIC_SetPriority(DMA1_Channel1_IRQn, 0, 0);
  HAL_NVIC_EnableIRQ(DMA1_Channel1_IRQn);
  /* DMA2_Channel4_IRQn interrupt configuration */
  HAL_NVIC_SetPriority(DMA2_Channel4_IRQn, 0, 0);
  HAL_NVIC_EnableIRQ(DMA2_Channel4_IRQn);

}

static void MX_GPIO_Init(void)
{
  GPIO_InitTypeDef GPIO_InitStruct = {0};

  /* GPIO Ports Clock Enable */
  __HAL_RCC_GPIOC_CLK_ENABLE();
  __HAL_RCC_GPIOA_CLK_ENABLE();
  __HAL_RCC_GPIOB_CLK_ENABLE();

  /*Configure GPIO pin Output Level */
  HAL_GPIO_WritePin(GPIOC, PWM0_Pin|PWM45_Pin|PWM90_Pin|PWM135_Pin
                          |PWM180_Pin|PWM225_Pin|PWM270_Pin|PWM315_Pin
                          |BIAS_Pin|ADC_TRIG_OUT_Pin, GPIO_PIN_RESET);

  /*Configure GPIO pin Output Level */
  HAL_GPIO_WritePin(GPIOA, GPIO_PIN_0|GPIO_PIN_1, GPIO_PIN_SET);

  /*Configure GPIO pin Output Level */
  HAL_GPIO_WritePin(GPIOB, GPIO_PIN_10|GPIO_PIN_11, GPIO_PIN_SET);

  /*Configure GPIO pins : PWM0_Pin PWM45_Pin PWM90_Pin PWM135_Pin
                           PWM180_Pin PWM225_Pin PWM270_Pin PWM315_Pin
                           ADC_TRIG_OUT_Pin */
  GPIO_InitStruct.Pin = PWM0_Pin|PWM45_Pin|PWM90_Pin|PWM135_Pin
                          |PWM180_Pin|PWM225_Pin|PWM270_Pin|PWM315_Pin
                          |ADC_TRIG_OUT_Pin;
  GPIO_InitStruct.Mode = GPIO_MODE_OUTPUT_PP;
  GPIO_InitStruct.Pull = GPIO_NOPULL;
  GPIO_InitStruct.Speed = GPIO_SPEED_FREQ_LOW;
  HAL_GPIO_Init(GPIOC, &GPIO_InitStruct);

  /*Configure GPIO pins : PA0 PA1 */
  GPIO_InitStruct.Pin = GPIO_PIN_0|GPIO_PIN_1;
  GPIO_InitStruct.Mode = GPIO_MODE_OUTPUT_PP;
  GPIO_InitStruct.Pull = GPIO_NOPULL;
  GPIO_InitStruct.Speed = GPIO_SPEED_FREQ_LOW;
  HAL_GPIO_Init(GPIOA, &GPIO_InitStruct);

  /*Configure GPIO pins : PB10 PB11 */
  GPIO_InitStruct.Pin = GPIO_PIN_10|GPIO_PIN_11;
  GPIO_InitStruct.Mode = GPIO_MODE_OUTPUT_PP;
  GPIO_InitStruct.Pull = GPIO_NOPULL;
  GPIO_InitStruct.Speed = GPIO_SPEED_FREQ_LOW;
  HAL_GPIO_Init(GPIOB, &GPIO_InitStruct);

  /*Configure GPIO pin : BIAS_Pin */
  GPIO_InitStruct.Pin = BIAS_Pin;
  GPIO_InitStruct.Mode = GPIO_MODE_OUTPUT_OD;
  GPIO_InitStruct.Pull = GPIO_NOPULL;
  GPIO_InitStruct.Speed = GPIO_SPEED_FREQ_VERY_HIGH;
  HAL_GPIO_Init(BIAS_GPIO_Port, &GPIO_InitStruct);

  /*Configure GPIO pin : PA11 */
  GPIO_InitStruct.Pin = GPIO_PIN_11;
  GPIO_InitStruct.Mode = GPIO_MODE_IT_RISING;
  GPIO_InitStruct.Pull = GPIO_NOPULL;
  HAL_GPIO_Init(GPIOA, &GPIO_InitStruct);

  /*Configure GPIO pin : PA12 */
  GPIO_InitStruct.Pin = GPIO_PIN_12;
  GPIO_InitStruct.Mode = GPIO_MODE_INPUT;
  GPIO_InitStruct.Pull = GPIO_NOPULL;
  HAL_GPIO_Init(GPIOA, &GPIO_InitStruct);

  /* EXTI interrupt init*/
  HAL_NVIC_SetPriority(EXTI15_10_IRQn, 0, 0);
  HAL_NVIC_EnableIRQ(EXTI15_10_IRQn);

}

/* USER CODE BEGIN 4 */
/*void HAL_GPIO_EXTI_Callback(uint16_t GPIO_Pin)
{
    zero = phaseDeg;
}*/
void HAL_ADC_ConvHalfCpltCallback(ADC_HandleTypeDef* hadc)
{
	memcpy(processBuff, samples, 128);
	dataRdyFlag = 1;
}
void HAL_ADC_ConvCpltCallback(ADC_HandleTypeDef* hadc)
{
	memcpy(processBuff, samples+64, 128);
	dataRdyFlag = 1;
}
/* USER CODE END 4 */

void Error_Handler(void)
{
  __disable_irq();
  while (1)
  {
  }
}
